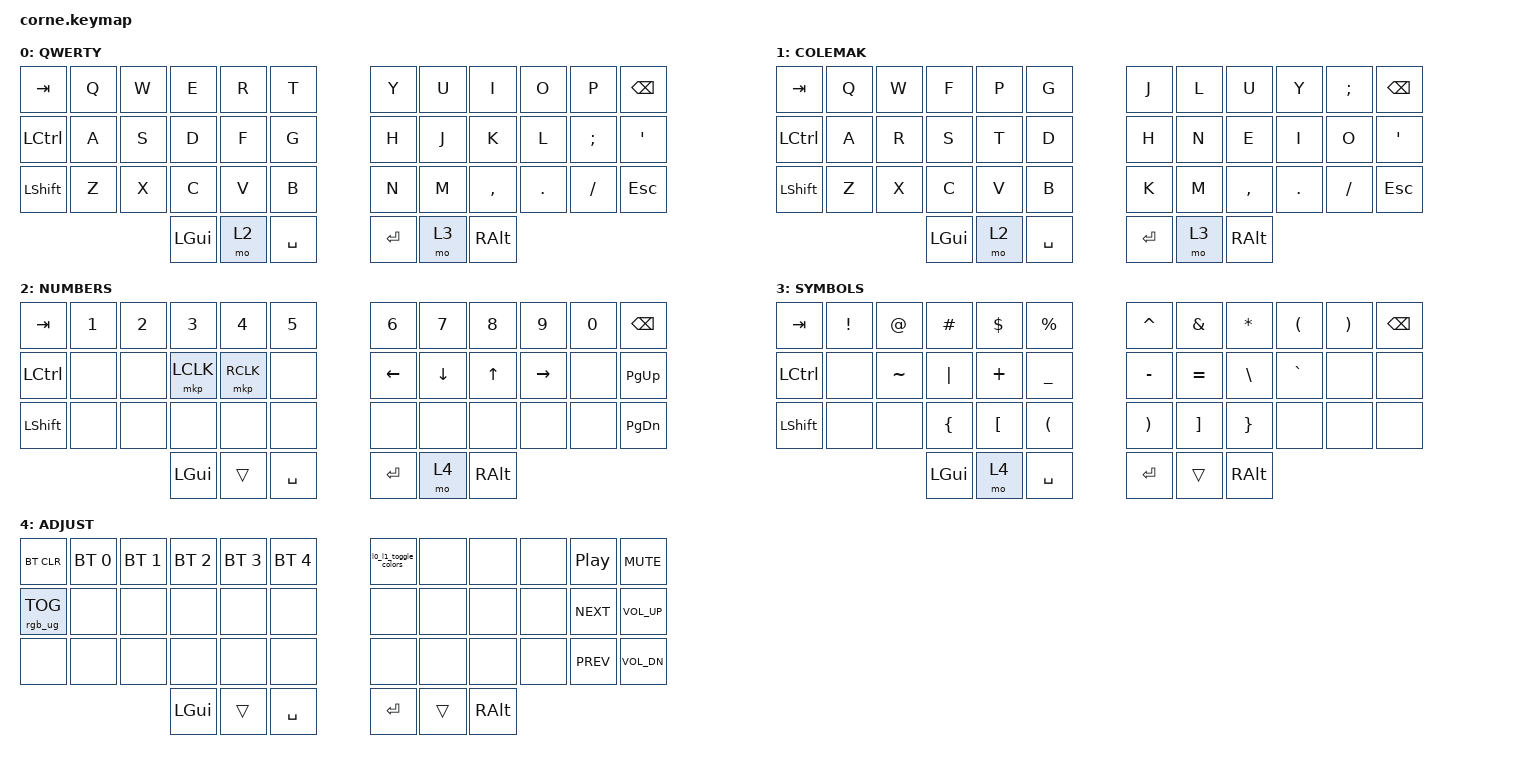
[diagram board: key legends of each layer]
/*
 * Copyright (c) 2020 The ZMK Contributors
 *
 * SPDX-License-Identifier: MIT
 */

#include <behaviors.dtsi>
#include <dt-bindings/zmk/keys.h>
#include <dt-bindings/zmk/pointing.h>
#include <dt-bindings/zmk/bt.h>
#include <dt-bindings/zmk/rgb.h>

&spi3 {
    led_strip: ws2812@0 {
        chain-length = <27>;
    };
};

/ {
    zmk,config {
      compatible = "zmk,config";
      zmk,settings = "enable";
    };
    /**/
    /* chosen { */
    /*   zmk,display-init-on-wake = "on"; */
    /* }; */

    macros {
      to_l1_color: to_l1_color {
        compatible = "zmk,behavior-macro";
        #binding-cells = <0>;
        wait-ms = <0>; tap-ms = <0>;
        bindings = <&macro_tap &to 1>,
                   <&macro_tap &rgb_ug RGB_COLOR_HSB(120,60,25)>;
      };

      to_l0_color: to_l0_color {
        compatible = "zmk,behavior-macro";
        #binding-cells = <0>;
        wait-ms = <0>; tap-ms = <0>;
        bindings = <&macro_tap &to 0>,
                   <&macro_tap &rgb_ug RGB_COLOR_HSB(45,100,25)>;
      };
    };

    behaviors {
      l0_l1_toggle_colors: l0_l1_toggle_colors {
        compatible = "zmk,behavior-tap-dance";
        #binding-cells = <0>;
        tapping-term-ms = <200>;
        bindings = <&to_l1_color>, <&to_l0_color>; 
      };
    };

    keymap {
        compatible = "zmk,keymap";

        qwerty_layer {
            label = "QWERTY";
            bindings = <
                &kp TAB   &kp Q     &kp W     &kp E     &kp R     &kp T       &kp Y     &kp U     &kp I     &kp O     &kp P     &kp BSPC
                &kp LCTRL &kp A     &kp S     &kp D     &kp F     &kp G       &kp H     &kp J     &kp K     &kp L     &kp SEMI  &kp SQT
                &kp LSHFT &kp Z     &kp X     &kp C     &kp V     &kp B       &kp N     &kp M     &kp COMMA  &kp DOT  &kp FSLH  &kp ESC
                                     &kp LGUI &mo 2 &kp SPACE               &kp RET   &mo 3  &kp RALT
            >;
        };

        colemak_layer {
            label = "COLEMAK";
            bindings = <
                &kp TAB   &kp Q     &kp W     &kp F     &kp P     &kp G       &kp J     &kp L     &kp U     &kp Y     &kp SEMI  &kp BSPC
                &kp LCTRL &kp A     &kp R     &kp S     &kp T     &kp D       &kp H     &kp N     &kp E     &kp I     &kp O     &kp SQT
                &kp LSHFT &kp Z     &kp X     &kp C     &kp V     &kp B       &kp K     &kp M     &kp COMMA &kp DOT   &kp FSLH &kp ESC
                                     &kp LGUI &mo 2 &kp SPACE                   &kp RET   &mo 3  &kp RALT
            >;
        };

        nums_layer {
            label = "NUMBERS";
            bindings = <
                &kp TAB   &kp N1    &kp N2    &kp N3    &kp N4    &kp N5       &kp N6    &kp N7    &kp N8    &kp N9    &kp N0    &kp BSPC
                &kp LCTRL &none     &none     &mkp LCLK &mkp RCLK &none        &kp LEFT  &kp DOWN  &kp UP    &kp RIGHT &none     &kp PG_UP
                &kp LSHFT &none     &none     &none     &none     &none        &none     &none     &none     &none     &none     &kp PG_DN
                                     &kp LGUI &trans    &kp SPACE               &kp RET   &mo 4  &kp RALT
            >;
        };

        syms_layer {
            label = "SYMBOLS";
            bindings = <
                &kp TAB   &kp EXCL  &kp AT    &kp HASH  &kp DLLR  &kp PRCNT    &kp CARET &kp AMPS  &kp ASTRK &kp LPAR  &kp RPAR  &kp BSPC
                &kp LCTRL &none     &kp TILDE &kp PIPE  &kp PLUS  &kp UNDER    &kp MINUS &kp EQUAL &kp BSLH  &kp GRAVE &none     &none
                &kp LSHFT &none     &none     &kp LBRC  &kp LBKT  &kp LPAR     &kp RPAR  &kp RBKT  &kp RBRC  &none     &none     &none
                                     &kp LGUI &mo 4  &kp SPACE               &kp RET   &trans    &kp RALT
            >;
        };

        adju_layer {
            label = "ADJUST";
            bindings = <
                &bt BT_CLR &bt BT_SEL 0 &bt BT_SEL 1 &bt BT_SEL 2 &bt BT_SEL 3 &bt BT_SEL 4               &l0_l1_toggle_colors &none &none &none &kp C_PLAY_PAUSE &kp C_MUTE
                &rgb_ug RGB_TOG &none &none &none &none &none                                             &none &none &none &none &kp C_NEXT &kp C_VOL_UP
                &none &none &none &none &none &none                                                       &none &none &none &none &kp C_PREV &kp C_VOL_DN
                                     &kp LGUI &trans &kp SPACE                                            &kp RET  &trans &kp RALT
            >;
        };
    };
};

